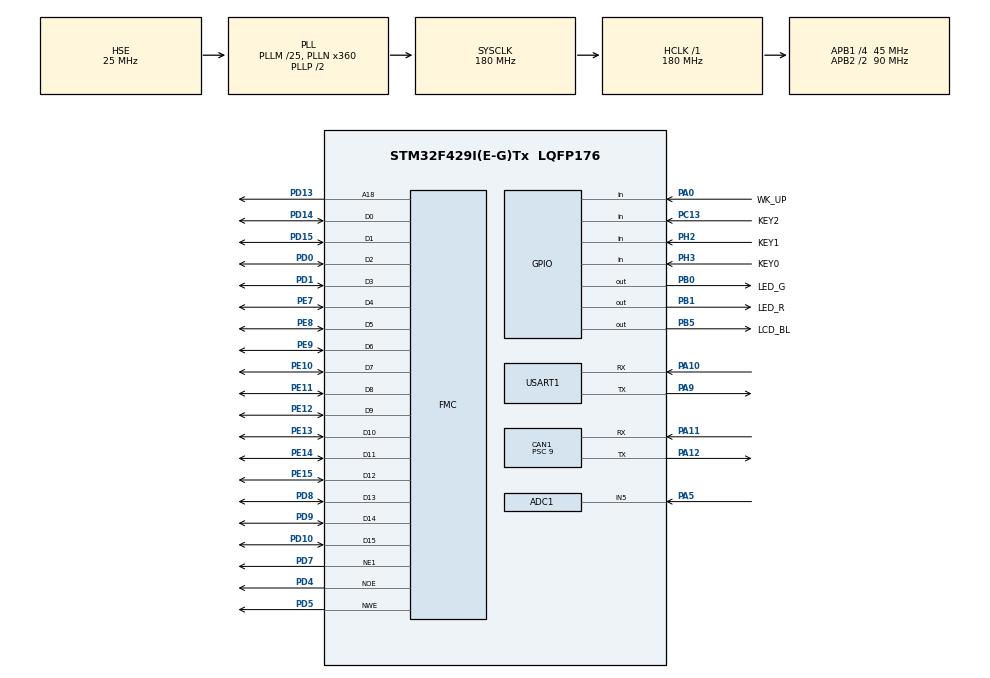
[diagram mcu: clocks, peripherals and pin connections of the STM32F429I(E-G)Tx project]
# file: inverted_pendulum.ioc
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ADC1.Channel-0\#ChannelRegularConversion=ADC_CHANNEL_5
ADC1.ContinuousConvMode=ENABLE
ADC1.DMAContinuousRequests=ENABLE
ADC1.NbrOfConversionFlag=1
ADC1.Rank-0\#ChannelRegularConversion=1
ADC1.SamplingTime-0\#ChannelRegularConversion=ADC_SAMPLETIME_480CYCLES
ADC1.master=1
CAN1.BS1=CAN_BS1_2TQ
CAN1.BS2=CAN_BS2_2TQ
CAN1.CalculateBaudRate=1000000
CAN1.CalculateTimeBit=1000
CAN1.CalculateTimeQuantum=200.0
CAN1.Prescaler=9
Dma.ADC1.0.Direction=DMA_PERIPH_TO_MEMORY
Dma.ADC1.0.FIFOMode=DMA_FIFOMODE_DISABLE
Dma.ADC1.0.Instance=DMA2_Stream0
Dma.ADC1.0.MemDataAlignment=DMA_MDATAALIGN_HALFWORD
Dma.ADC1.0.MemInc=DMA_MINC_ENABLE
Dma.ADC1.0.Mode=DMA_CIRCULAR
Dma.ADC1.0.PeriphDataAlignment=DMA_PDATAALIGN_HALFWORD
Dma.ADC1.0.PeriphInc=DMA_PINC_DISABLE
Dma.ADC1.0.Priority=DMA_PRIORITY_VERY_HIGH
Dma.Request0=ADC1
FMC.BusTurnAroundDuration1=0
FMC.DataSetupTime1=70
FMC.ExtendedBusTurnAroundDuration1=0
FMC.ExtendedDataSetupTime1=15
FMC.ExtendedMode1=FMC_EXTENDED_MODE_ENABLE
Mcu.Family=STM32F4
Mcu.Name=STM32F429I(E-G)Tx
Mcu.Package=LQFP176
NVIC.CAN1_RX0_IRQn=true\:0\:0\:false\:false\:true\:true\:true\:true
NVIC.DMA2_Stream0_IRQn=true\:0\:0\:false\:false\:true\:false\:true\:true
NVIC.PriorityGroup=NVIC_PRIORITYGROUP_4
NVIC.TIM3_IRQn=true\:0\:0\:false\:false\:true\:true\:true\:true
PA0/WKUP.GPIO_Label=WK_UP
PA0/WKUP.GPIO_PuPd=GPIO_PULLDOWN
PA0/WKUP.Signal=GPIO_Input
PA10.Mode=Asynchronous
PA10.Signal=USART1_RX
PA11.Mode=CAN_Activate
PA11.Signal=CAN1_RX
PA12.Mode=CAN_Activate
PA12.Signal=CAN1_TX
PA13.Mode=Serial_Wire
PA13.Signal=SYS_JTMS-SWDIO
PA14.Mode=Serial_Wire
PA14.Signal=SYS_JTCK-SWCLK
PA5.Signal=ADCx_IN5
PA9.Mode=Asynchronous
PA9.Signal=USART1_TX
PB0.GPIO_Label=LED_G
PB0.PinState=GPIO_PIN_SET
PB0.Signal=GPIO_Output
PB1.GPIO_Label=LED_R
PB1.PinState=GPIO_PIN_SET
PB1.Signal=GPIO_Output
PB5.GPIO_Label=LCD_BL
PB5.Signal=GPIO_Output
PC13.GPIO_Label=KEY2
PC13.GPIO_PuPd=GPIO_PULLUP
PC13.Signal=GPIO_Input
PC14/OSC32_IN.Mode=LSE-External-Oscillator
PC14/OSC32_IN.Signal=RCC_OSC32_IN
PC15/OSC32_OUT.Mode=LSE-External-Oscillator
PC15/OSC32_OUT.Signal=RCC_OSC32_OUT
PD0.Signal=FMC_D2_DA2
PD1.Signal=FMC_D3_DA3
PD10.Signal=FMC_D15_DA15
PD13.Signal=FMC_A18
PD14.Signal=FMC_D0_DA0
PD15.Signal=FMC_D1_DA1
PD4.Signal=FMC_NOE
PD5.Signal=FMC_NWE
PD7.Mode=NorPsramChipSelect1_1
PD7.Signal=FMC_NE1
PD8.Signal=FMC_D13_DA13
PD9.Signal=FMC_D14_DA14
PE10.Signal=FMC_D7_DA7
PE11.Signal=FMC_D8_DA8
PE12.Signal=FMC_D9_DA9
PE13.Signal=FMC_D10_DA10
PE14.Signal=FMC_D11_DA11
PE15.Signal=FMC_D12_DA12
PE7.Signal=FMC_D4_DA4
PE8.Signal=FMC_D5_DA5
PE9.Signal=FMC_D6_DA6
PH0/OSC_IN.Mode=HSE-External-Oscillator
PH0/OSC_IN.Signal=RCC_OSC_IN
PH1/OSC_OUT.Mode=HSE-External-Oscillator
PH1/OSC_OUT.Signal=RCC_OSC_OUT
PH2.GPIO_Label=KEY1
PH2.GPIO_PuPd=GPIO_PULLUP
PH2.Signal=GPIO_Input
PH3.GPIO_Label=KEY0
PH3.GPIO_PuPd=GPIO_PULLUP
PH3.Signal=GPIO_Input
ProjectManager.HeapSize=0x200
ProjectManager.StackSize=0x400
ProjectManager.TargetToolchain=MDK-ARM V5.32
RCC.48MHZClocksFreq_Value=90000000
RCC.AHBFreq_Value=180000000
RCC.APB1CLKDivider=RCC_HCLK_DIV4
RCC.APB1Freq_Value=45000000
RCC.APB1TimFreq_Value=90000000
RCC.APB2CLKDivider=RCC_HCLK_DIV2
RCC.APB2Freq_Value=90000000
RCC.APB2TimFreq_Value=180000000
RCC.CortexFreq_Value=180000000
RCC.HCLKFreq_Value=180000000
RCC.HSE_VALUE=25000000
RCC.HSI_VALUE=16000000
RCC.PLLM=25
RCC.PLLN=360
RCC.PLLSourceVirtual=RCC_PLLSOURCE_HSE
RCC.SYSCLKFreq_VALUE=180000000
RCC.SYSCLKSource=RCC_SYSCLKSOURCE_PLLCLK
RCC.VCOOutputFreq_Value=360000000
SH.ADCx_IN5.0=ADC1_IN5,IN5
SH.FMC_A18.0=FMC_A18,A18_1
SH.FMC_D0_DA0.0=FMC_D0,16b-d1
SH.FMC_D10_DA10.0=FMC_D10,16b-d1
SH.FMC_D11_DA11.0=FMC_D11,16b-d1
SH.FMC_D12_DA12.0=FMC_D12,16b-d1
SH.FMC_D13_DA13.0=FMC_D13,16b-d1
SH.FMC_D14_DA14.0=FMC_D14,16b-d1
SH.FMC_D15_DA15.0=FMC_D15,16b-d1
SH.FMC_D1_DA1.0=FMC_D1,16b-d1
SH.FMC_D2_DA2.0=FMC_D2,16b-d1
SH.FMC_D3_DA3.0=FMC_D3,16b-d1
SH.FMC_D4_DA4.0=FMC_D4,16b-d1
SH.FMC_D5_DA5.0=FMC_D5,16b-d1
SH.FMC_D6_DA6.0=FMC_D6,16b-d1
SH.FMC_D7_DA7.0=FMC_D7,16b-d1
SH.FMC_D8_DA8.0=FMC_D8,16b-d1
SH.FMC_D9_DA9.0=FMC_D9,16b-d1
SH.FMC_NOE.0=FMC_NOE,Lcd1
SH.FMC_NWE.0=FMC_NWE,Lcd1
TIM3.Period=999
TIM3.Prescaler=89
TIM7.Prescaler=89
USART1.VirtualMode=VM_ASYNC
VP_TIM3_VS_ClockSourceINT.Mode=Internal
VP_TIM7_VS_ClockSourceINT.Mode=Enable_Timer
board=custom

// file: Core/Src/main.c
/* USER CODE BEGIN Header */
/**
 ******************************************************************************
 * @file           : main.c
 * @brief          : Main program body
 ******************************************************************************
 * @attention
 *
 * Copyright (c) 2025 STMicroelectronics.
 * All rights reserved.
 *
 * This software is licensed under terms that can be found in the LICENSE file
 * in the root directory of this software component.
 * If no LICENSE file comes with this software, it is provided AS-IS.
 *
 ******************************************************************************
 */
/* USER CODE END Header */
#include "main.h"
#include "adc.h"
#include "can.h"
#include "dma.h"
#include "tim.h"
#include "usart.h"
#include "gpio.h"
#include "fmc.h"

/* USER CODE BEGIN Includes */
#include "dm_motor_ctrl.h"
#include "bsp_can.h"
#include "lcd.h"
#include "keys.h"
#include "task.h"
#include <stdio.h>
#include <math.h>
/* USER CODE END Includes */

/* USER CODE BEGIN PD */
#define LED_ON  GPIO_PIN_RESET   /* LED 低电平点亮；若硬件为高有效改为 GPIO_PIN_SET */
#define LED_OFF GPIO_PIN_SET
/* USER CODE END PD */

/* USER CODE BEGIN PV */

uint32_t lcd_tick = 0;   /* last LCD refresh timestamp (ms), non-blocking 0.1s */
uint32_t ADC_Value = 0;
extern uint8_t delay_position_register ;

/* USER CODE END PV */

void SystemClock_Config(void);

/* USER CODE BEGIN 0 */
/* Periodic DM control-frame send.
 * TIM3 is configured by the user (see the init notes below); to start the
 * ~1 kHz control loop add:  MX_TIM3_Init();  HAL_TIM_Base_Start_IT(&htim3);  */

/**
 * @brief 显示层角度回绕：把数字限制到 (-π, π]
 * @note  只用于 LCD 显示。位置环内部用的是连续坐标（可多圈），
 *        在这里回绕不会给 PID 带来任何阶跃冲击。
 */
static float wrap_pi_display(float a)
{
    while (a >  3.1415926f) a -= 6.2831853f;
    while (a < -3.1415926f) a += 6.2831853f;
    return a;
}

/* USER CODE END 0 */

int main(void)
{

  /* MCU Configuration--------------------------------------------------------*/

  /* Reset of all peripherals, Initializes the Flash interface and the Systick. */
  HAL_Init();

  /* Configure the system clock */
  SystemClock_Config();

  /* Initialize all configured peripherals */
  MX_GPIO_Init();
  MX_DMA_Init();
  MX_USART1_UART_Init();
  MX_FMC_Init();
  MX_TIM7_Init();
  MX_CAN1_Init();
  MX_TIM3_Init();
  MX_ADC1_Init();
  /* USER CODE BEGIN 2 */
    bsp_can_init();
    lcd_init();
    lcd_clear(BLACK);           /* 黑底，便于白字显示 */
    g_back_color = BLACK;       /* 字符背景色也设黑，刷新数字时能清掉旧像素 */
    lcd_show_string(10, 10, 200, 24, 24, "Ang:", WHITE);    /* 静态标签：摆杆角度 */
    lcd_show_string(10, 44, 200, 24, 24, "Pos:", WHITE);    /* 静态标签：电机位置·连续坐标 */
    lcd_show_string(10, 78, 200, 24, 24, "PosW:", WHITE);   /* 静态标签：电机位置·回绕 ±3.14 */
    lcd_show_string(10, 112, 200, 24, 24, "ADC:", WHITE);   /* 静态标签：摆杆ADC原始值 */
    lcd_show_string(10, 146, 200, 24, 24, "Tgt:", WHITE);   /* 静态标签：位置目标·连续坐标 */
    lcd_show_string(10, 180, 200, 24, 24, "TgtW:", WHITE);  /* 静态标签：位置目标·回绕 ±3.14 */

    HAL_ADC_Start_DMA(&hadc1, &ADC_Value, 1);
    dm_motor_init();
    pendulum_pid_init();        // 串级PID初始化

    motor[Motor1].ctrl.mode = spd_mode;
    motor[Motor1].ctrl.kp_set = 5.0f;
    motor[Motor1].ctrl.kd_set = 0.1f;

    HAL_Delay(1000);
     dm_motor_enable(&hcan1, &motor[Motor1]);

     HAL_TIM_Base_Start_IT(&htim3);      // 启动 1ms 控制中断

//    pendulum_pid_enable(1);            // 摆杆竖直扶正后再启动平衡（或由按键触发）

  /* USER CODE END 2 */

  /* Infinite loop */
    while (1)
    {

    /* USER CODE BEGIN 3 */

		Key_Progress();

		/* 按键3：每次触发翻转一次运行状态（启动/停止平衡）；不重定义原点 */
		if (KEY3_Instance.key_flag)
		{
			KEY3_Instance.key_flag = 0;    // 读后清零
			pendulum_pid_toggle();
		}

		/* 按键0：将当前电机编码器位置映射为0（唯一取零入口） */
		if (KEY0_Instance.key_flag)
		{
			KEY0_Instance.key_flag = 0;    // 读后清零
			motor_pos_zero();
      HAL_Delay(100); // 延时让位置环目标归零，避免按完立刻朝旧目标跑
      delay_position_register = 1;
		}

		/* 按键1：位置目标 +step */
		if (KEY1_Instance.key_flag)
		{
			KEY1_Instance.key_flag = 0;    // 读后清零
			pendulum_pid_step_position(+POS_TARGET_STEP);
		}

		/* 按键2：位置目标 -step */
		if (KEY2_Instance.key_flag)
		{
			KEY2_Instance.key_flag = 0;    // 读后清零
			pendulum_pid_step_position(-POS_TARGET_STEP);
		}

        /* 红色LED指示运行状态：运行亮、停止灭 */
        HAL_GPIO_WritePin(LED_R_GPIO_Port, LED_R_Pin, pendulum_pid_get_state() ? LED_ON : LED_OFF);

        /* 显示刷新：非阻塞 0.1s，仅更新数值（标签已在初始化时静态打印） */
        if (HAL_GetTick() - lcd_tick >= 100)
        {
            lcd_tick = HAL_GetTick();

            char buf[24];

            /* 摆杆角度偏差（counts，有符号） */
            sprintf(buf, "%+.1f", angle);
            lcd_fill(76, 10, 76 + 120, 10 + 24, BLACK);   // 先清旧值，避免残留
            lcd_show_string(76, 10, 120, 24, 24, buf, WHITE);

            /* 电机位置·连续坐标（可多圈，位置环实际使用的值） */
            sprintf(buf, "%+.2f", motor_pos);
            lcd_fill(76, 44, 76 + 120, 44 + 24, BLACK);
            lcd_show_string(76, 44, 120, 24, 24, buf, WHITE);

            /* 电机位置·回绕到 ±3.14（仅供观察，不参与控制） */
            sprintf(buf, "%+.2f", wrap_pi_display(motor_pos));
            lcd_fill(76, 78, 76 + 120, 78 + 24, BLACK);
            lcd_show_string(76, 78, 120, 24, 24, buf, WHITE);

            /* 摆杆 ADC 原始值（0~4095）：标定 PENDULUM_CENTER_ANGLE 时看这一行 */
            sprintf(buf, "%4lu", (unsigned long)(uint16_t)ADC_Value);
            lcd_fill(76, 112, 76 + 120, 112 + 24, BLACK);
            lcd_show_string(76, 112, 120, 24, 24, buf, WHITE);

            /* 位置目标·连续坐标：KEY1/KEY2 加减的就是这个 */
            sprintf(buf, "%+.2f", pos_pid.set);
            lcd_fill(76, 146, 76 + 120, 146 + 24, BLACK);
            lcd_show_string(76, 146, 120, 24, 24, buf, WHITE);

            /* 位置目标·回绕到 ±3.14（仅供观察，不参与控制） */
            sprintf(buf, "%+.2f", wrap_pi_display(pos_pid.set));
            lcd_fill(76, 180, 76 + 120, 180 + 24, BLACK);
            lcd_show_string(76, 180, 120, 24, 24, buf, WHITE);

        }
        HAL_Delay(10);
    }

  /* USER CODE END 3 */
}

void SystemClock_Config(void)
{
  RCC_OscInitTypeDef RCC_OscInitStruct = {0};
  RCC_ClkInitTypeDef RCC_ClkInitStruct = {0};

  /** Configure the main internal regulator output voltage
  */
  __HAL_RCC_PWR_CLK_ENABLE();
  __HAL_PWR_VOLTAGESCALING_CONFIG(PWR_REGULATOR_VOLTAGE_SCALE1);

  /** Initializes the RCC Oscillators according to the specified parameters
  * in the RCC_OscInitTypeDef structure.
  */
  RCC_OscInitStruct.OscillatorType = RCC_OSCILLATORTYPE_HSE;
  RCC_OscInitStruct.HSEState = RCC_HSE_ON;
  RCC_OscInitStruct.PLL.PLLState = RCC_PLL_ON;
  RCC_OscInitStruct.PLL.PLLSource = RCC_PLLSOURCE_HSE;
  RCC_OscInitStruct.PLL.PLLM = 25;
  RCC_OscInitStruct.PLL.PLLN = 360;
  RCC_OscInitStruct.PLL.PLLP = RCC_PLLP_DIV2;
  RCC_OscInitStruct.PLL.PLLQ = 4;
  if (HAL_RCC_OscConfig(&RCC_OscInitStruct) != HAL_OK)
  {
    Error_Handler();
  }

  /** Activate the Over-Drive mode
  */
  if (HAL_PWREx_EnableOverDrive() != HAL_OK)
  {
    Error_Handler();
  }

  /** Initializes the CPU, AHB and APB buses clocks
  */
  RCC_ClkInitStruct.ClockType = RCC_CLOCKTYPE_HCLK|RCC_CLOCKTYPE_SYSCLK
                              |RCC_CLOCKTYPE_PCLK1|RCC_CLOCKTYPE_PCLK2;
  RCC_ClkInitStruct.SYSCLKSource = RCC_SYSCLKSOURCE_PLLCLK;
  RCC_ClkInitStruct.AHBCLKDivider = RCC_SYSCLK_DIV1;
  RCC_ClkInitStruct.APB1CLKDivider = RCC_HCLK_DIV4;
  RCC_ClkInitStruct.APB2CLKDivider = RCC_HCLK_DIV2;

  if (HAL_RCC_ClockConfig(&RCC_ClkInitStruct, FLASH_LATENCY_5) != HAL_OK)
  {
    Error_Handler();
  }
}

void Error_Handler(void)
{
    __disable_irq();
    while (1)
    {
    }
}
